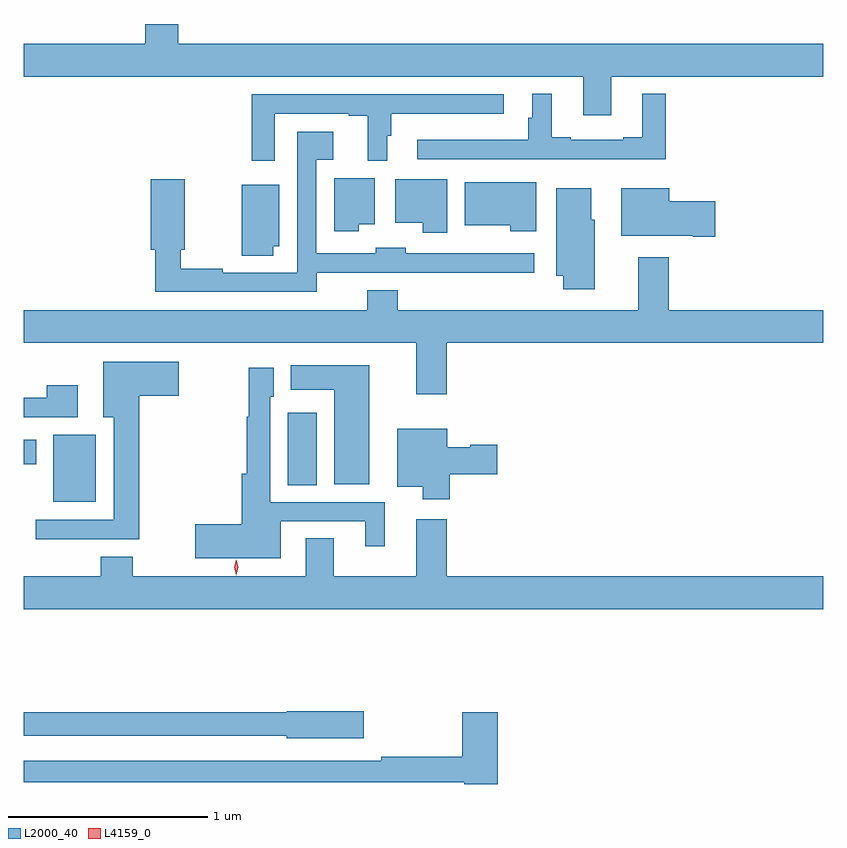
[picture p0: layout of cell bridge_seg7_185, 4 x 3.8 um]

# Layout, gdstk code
import gdstk
lib = gdstk.Library(unit=1e-6, precision=1e-09)
def R(c, l, rs):  # rectangles x0, y0, x1, y1
    for r in rs: c.add(gdstk.rectangle(r[:2], r[2:], *l))
def P(c, l, *ps):  # polygons
    for p in ps: c.add(gdstk.Polygon(p, *l))
L2000_40 = (2000, 40)
L4159_0 = (4159, 0)

bridge_seg7_185 = lib.new_cell('bridge_seg7_185')
R(bridge_seg7_185, L2000_40, [(382.406,1007.813,382.618,1008.148), (383.579,1007.896,383.722,1008.259), (382.257,1008.002,382.321,1008.124)])
P(bridge_seg7_185, L2000_40, [(385.195,1009.94),(386.257,1009.94),(386.257,1010.104),(383.03,1010.104),(383.03,1010.203),(382.865,1010.203),(382.865,1010.104),(382.257,1010.104),(382.257,1009.94),(385.055,1009.94),(385.055,1009.746),(385.195,1009.746)],
  [(385.469,1009.855),(385.352,1009.855),(385.352,1009.636),(385.256,1009.636),(385.256,1009.623),(384.994,1009.623),(384.994,1009.636),(384.898,1009.636),(384.898,1009.855),(384.8,1009.855),(384.8,1009.734),(384.781,1009.734),(384.781,1009.624),(384.225,1009.624),(384.225,1009.527),(384.924,1009.527),(384.924,1009.526),(385.469,1009.526)],
  [(383.514,1009.755),(383.882,1009.755),(383.882,1009.743),(383.978,1009.743),(383.978,1009.518),(384.076,1009.518),(384.076,1009.644),(384.095,1009.644),(384.095,1009.754),(384.658,1009.754),(384.658,1009.851),(383.398,1009.851),(383.398,1009.518),(383.514,1009.518)],
  [(383.724,1008.959),(384.811,1008.959),(384.811,1009.057),(384.472,1009.057),(384.472,1009.056),(384.168,1009.056),(384.168,1009.084),(384.018,1009.084),(384.018,1009.056),(383.721,1009.056),(383.721,1009.523),(383.806,1009.523),(383.806,1009.663),(383.625,1009.663),(383.625,1008.96),(383.252,1008.96),(383.252,1008.98),(383.044,1008.98),(383.044,1009.073),(383.062,1009.073),(383.062,1009.426),(382.892,1009.426),(382.892,1009.073),(382.915,1009.073),(382.915,1008.864),(383.724,1008.864)],
  [(383.932,1009.202),(384.013,1009.202),(384.013,1009.432),(383.81,1009.432),(383.81,1009.166),(383.932,1009.166)],
  [(384.376,1009.426),(384.116,1009.426),(384.116,1009.208),(384.254,1009.208),(384.254,1009.158),(384.376,1009.158)],
  [(384.82,1009.411),(384.464,1009.411),(384.464,1009.196),(384.691,1009.196),(384.691,1009.166),(384.82,1009.166)],
  [(383.506,1009.091),(383.536,1009.091),(383.536,1009.399),(383.348,1009.399),(383.348,1009.045),(383.506,1009.045)],
  [(385.114,1009.224),(385.096,1009.224),(385.096,1009.381),(384.92,1009.381),(384.92,1008.944),(384.956,1008.944),(384.956,1008.876),(385.114,1008.876)],
  [(385.717,1009.316),(385.486,1009.316),(385.486,1009.381),(385.247,1009.381),(385.247,1009.145),(385.604,1009.145),(385.604,1009.138),(385.717,1009.138)],
  [(384.374,1008.608),(386.257,1008.608),(386.257,1008.772),(385.484,1008.772),(385.484,1009.036),(385.331,1009.036),(385.331,1008.772),(384.128,1008.772),(384.128,1008.871),(383.975,1008.871),(383.975,1008.772),(382.257,1008.772),(382.257,1008.608),(384.221,1008.608),(384.221,1008.351),(384.374,1008.351)],
  [(382.835,1008.344),(383.032,1008.344),(383.032,1008.514),(382.655,1008.514),(382.655,1008.236),(382.709,1008.236),(382.709,1007.724),(382.317,1007.724),(382.317,1007.627),(382.835,1007.627)],
  [(383.986,1008.496),(383.594,1008.496),(383.594,1008.374),(383.81,1008.374),(383.81,1007.9),(383.986,1007.9)],
  [(383.542,1007.715),(383.966,1007.715),(383.966,1007.592),(384.064,1007.592),(384.064,1007.811),(383.49,1007.811),(383.49,1008.339),(383.509,1008.339),(383.509,1008.484),(383.382,1008.484),(383.382,1008.239),(383.374,1008.239),(383.374,1007.953),(383.348,1007.953),(383.348,1007.702),(383.115,1007.702),(383.115,1007.531),(383.542,1007.531)],
  [(382.528,1008.397),(382.372,1008.397),(382.372,1008.333),(382.257,1008.333),(382.257,1008.237),(382.528,1008.237)],
  [(384.389,1007.951),(384.625,1007.951),(384.625,1008.098),(384.492,1008.098),(384.492,1008.085),(384.376,1008.085),(384.376,1008.178),(384.125,1008.178),(384.125,1007.888),(384.254,1007.888),(384.254,1007.826),(384.389,1007.826)],
  [(386.257,1007.44),(384.374,1007.44),(384.374,1007.725),(384.221,1007.725),(384.221,1007.44),(383.809,1007.44),(383.809,1007.63),(383.669,1007.63),(383.669,1007.44),(382.803,1007.44),(382.803,1007.539),(382.643,1007.539),(382.643,1007.44),(382.257,1007.44),(382.257,1007.276),(386.257,1007.276)],
  [(383.959,1006.766),(383.574,1006.766),(383.574,1006.76),(382.257,1006.76),(382.257,1006.644),(383.574,1006.644),(383.574,1006.631),(383.959,1006.631)],
  [(384.629,1006.762),(384.451,1006.762),(384.451,1006.538),(384.046,1006.538),(384.046,1006.518),(382.257,1006.518),(382.257,1006.41),(384.462,1006.41),(384.462,1006.402),(384.629,1006.402)])
P(bridge_seg7_185, L4159_0, [(383.32,1007.445),(383.32,1007.445),(383.31,1007.485),(383.32,1007.524),(383.32,1007.524),(383.32,1007.524),(383.33,1007.485),(383.32,1007.445)])

lib.write_gds('bridge_seg7_185.gds')
